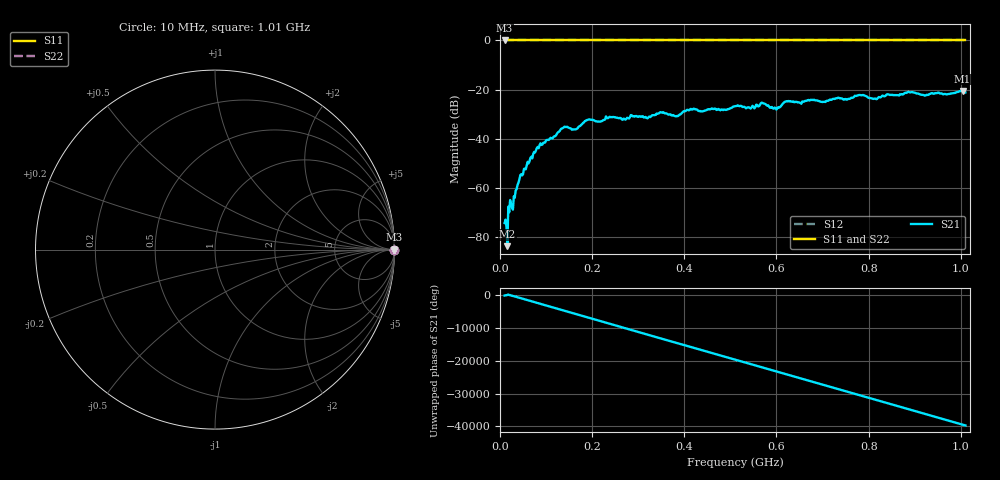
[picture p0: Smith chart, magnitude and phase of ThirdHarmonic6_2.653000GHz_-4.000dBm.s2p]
! 8/17/2025 6:03:55 AM
! C:\ANRITSUVNA\TEMP\TEMP.S2P
! CHANNEL.1
! TR.MEASUREMENT
! RAW.DATA
! RF.CORRECTION.OFF
! AVERAGING.OFF
! IF.BANDWIDTH: 5KHZ
! SWEEPTYPE:  FREQ.SWEEP(Linear)
! Reference Plane Port Info
! PORT:  PORT1  PORT2
! DISTANCE:  0  m  0  m
! TIME:  0  s  0  s
! PHASE.OFFSET:  0  deg.  0  deg.
! LOSS:  0  dB  0  dB
! REF.LOSS:  0  dB  0  dB
! REF.FREQ:  0  Hz  0  Hz
! Power Info
! POWER:  -20  dBm  -20  dBm
! EFF.POWER:  -20  dBm  -20  dBm
! SOURCE.ATTEN:  0  dB  0  dB
! TEST.ATTEN:  0  dB  0  dB
# GHZ S RI R 50.0
! FREQ.GHZ  S11RE  S11IM  S21RE  S21IM  S12RE  S12IM  S22RE  S22IM
!; PortSelection: Port_12
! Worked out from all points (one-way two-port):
!   501 points, 10 MHz to 1.01 GHz, reference 50 ohm
!   highest |S21| = -20.46 dB at 1.004 GHz (marker M1); lowest = -83.5 dB at 16 MHz (marker M2)
!   lowest |S11| = 0.0 dB at 10 MHz (marker M3)
!   |S11| at or under -10 dB: nowhere
!   |S22| runs from 0.0 to 0.0 dB; largest |S21 - S12| = 1.1
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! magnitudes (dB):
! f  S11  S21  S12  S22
! 10 MHz  0.0  -74.1  0.0  0.0
! 12 MHz  0.0  -72.8  0.0  0.0
! 16 MHz  0.0  -83.5  0.0  0.0
! 22 MHz  0.0  -64.8  0.0  0.0
! 28 MHz  0.0  -68.7  0.0  0.0
! 42 MHz  0.0  -56.4  0.0  0.0
! 84 MHz  0.0  -43.8  0.0  0.0
! 136 MHz  0.0  -35.6  0.0  0.0
! 162 MHz  0.0  -36.1  0.0  0.0
! 178 MHz  0.0  -34.0  0.0  0.0
! 192 MHz  0.0  -32.1  0.0  0.0
! 344 MHz  0.0  -29.7  0.0  0.0
! 384 MHz  0.0  -30.7  0.0  0.0
! 410 MHz  0.0  -28.4  0.0  0.0
! 510 MHz  0.0  -26.7  0.0  0.0
! 570 MHz  0.0  -25.4  0.0  0.0
! 598 MHz  0.0  -27.5  0.0  0.0
! 622 MHz  0.0  -24.6  0.0  0.0
! 678 MHz  0.0  -24.1  0.0  0.0
! 844 MHz  0.0  -22.0  0.0  0.0
! 1.004 GHz  0.0  -20.5  0.0  0.0
! 1.01 GHz  0.0  -21.1  0.0  0.0
